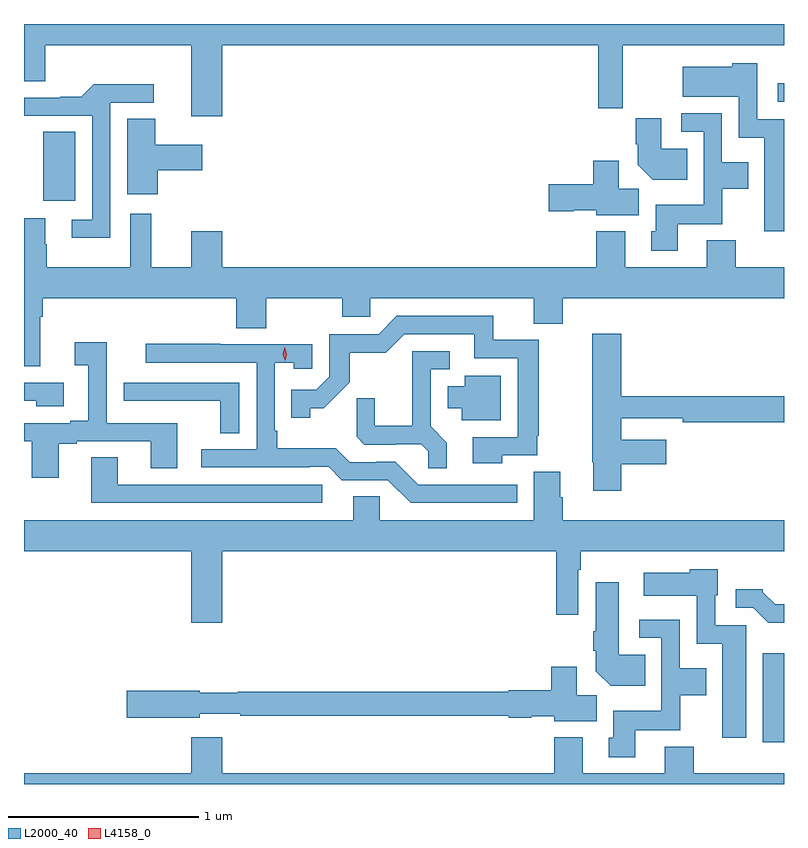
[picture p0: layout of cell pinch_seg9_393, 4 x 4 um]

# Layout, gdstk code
import gdstk
lib = gdstk.Library(unit=1e-6, precision=1e-09)
def R(c, l, rs):  # rectangles x0, y0, x1, y1
    for r in rs: c.add(gdstk.rectangle(r[:2], r[2:], *l))
def P(c, l, *ps):  # polygons
    for p in ps: c.add(gdstk.Polygon(p, *l))
L2000_40 = (2000, 40)
L4158_0 = (4158, 0)

pinch_seg9_393 = lib.new_cell('pinch_seg9_393')
R(pinch_seg9_393, L2000_40, [(371.813,1208.736,371.925,1209.205), (368.027,1211.586,368.194,1211.948), (371.892,1212.108,371.925,1212.205)])
P(pinch_seg9_393, L2000_40, [(368.968,1212.404),(370.948,1212.404),(370.948,1212.072),(371.077,1212.072),(371.077,1212.404),(371.925,1212.404),(371.925,1212.516),(367.925,1212.516),(367.925,1212.214),(368.038,1212.214),(368.038,1212.404),(368.804,1212.404),(368.804,1212.03),(368.968,1212.03)],
  [(371.925,1212.015),(371.784,1212.015),(371.784,1212.31),(371.652,1212.31),(371.652,1212.292),(371.391,1212.292),(371.391,1212.134),(371.688,1212.134),(371.688,1211.918),(371.822,1211.918),(371.822,1211.424),(371.925,1211.424)],
  [(368.379,1212.102),(368.608,1212.102),(368.608,1212.2),(368.291,1212.2),(368.225,1212.134),(368.117,1212.134),(368.117,1212.129),(367.925,1212.129),(367.925,1212.033),(368.283,1212.033),(368.283,1211.487),(368.175,1211.487),(368.175,1211.39),(368.379,1211.39)],
  [(371.365,1211.462),(371.601,1211.462),(371.601,1211.648),(371.737,1211.648),(371.737,1211.788),(371.598,1211.788),(371.598,1212.045),(371.385,1212.045),(371.385,1211.949),(371.502,1211.949),(371.502,1211.566),(371.249,1211.566),(371.249,1211.424),(371.225,1211.424),(371.225,1211.322),(371.365,1211.322)],
  [(371.417,1211.86),(371.278,1211.86),(371.278,1212.019),(371.144,1212.019),(371.144,1211.884),(371.156,1211.884),(371.156,1211.774),(371.234,1211.696),(371.417,1211.696)],
  [(368.63,1211.747),(368.863,1211.747),(368.863,1211.881),(368.617,1211.881),(368.617,1212.017),(368.468,1212.017),(368.468,1211.619),(368.63,1211.619)],
  [(371.161,1211.648),(371.056,1211.648),(371.056,1211.797),(370.922,1211.797),(370.922,1211.672),(370.686,1211.672),(370.686,1211.53),(370.818,1211.53),(370.818,1211.537),(370.938,1211.537),(370.938,1211.51),(371.161,1211.51)],
  [(368.968,1211.425),(368.804,1211.425),(368.804,1211.236),(368.596,1211.236),(368.596,1211.518),(368.483,1211.518),(368.483,1211.236),(368.046,1211.236),(368.046,1211.357),(368.038,1211.357),(368.038,1211.494),(367.925,1211.494),(367.925,1210.716),(368.011,1210.716),(368.011,1210.976),(368.024,1210.976),(368.024,1211.072),(369.041,1211.072),(369.041,1210.915),(369.201,1210.915),(369.201,1211.072),(369.601,1211.072),(369.601,1210.974),(369.747,1210.974),(369.747,1211.072),(370.607,1211.072),(370.607,1210.939),(370.76,1210.939),(370.76,1211.072),(371.925,1211.072),(371.925,1211.236),(371.672,1211.236),(371.672,1211.377),(371.519,1211.377),(371.519,1211.236),(371.089,1211.236),(371.089,1211.425),(370.937,1211.425),(370.937,1211.236),(368.968,1211.236)],
  [(370.443,1210.245),(370.625,1210.245),(370.625,1210.348),(370.633,1210.348),(370.633,1210.854),(370.394,1210.854),(370.394,1210.98),(369.888,1210.98),(369.792,1210.884),(369.531,1210.884),(369.531,1210.659),(369.462,1210.59),(369.331,1210.59),(369.331,1210.443),(369.432,1210.443),(369.432,1210.493),(369.502,1210.493),(369.64,1210.63),(369.64,1210.786),(369.829,1210.786),(369.927,1210.884),(370.295,1210.884),(370.295,1210.758),(370.524,1210.758),(370.524,1210.341),(370.287,1210.341),(370.287,1210.205),(370.443,1210.205)],
  [(371.069,1210.198),(371.305,1210.198),(371.305,1210.327),(371.069,1210.327),(371.069,1210.44),(371.392,1210.44),(371.392,1210.42),(371.925,1210.42),(371.925,1210.556),(371.069,1210.556),(371.069,1210.885),(370.915,1210.885),(370.915,1210.209),(370.922,1210.209),(370.922,1210.059),(371.069,1210.059)],
  [(368.107,1210.308),(368.203,1210.308),(368.203,1210.32),(368.591,1210.32),(368.591,1210.177),(368.731,1210.177),(368.731,1210.416),(368.361,1210.416),(368.361,1210.84),(368.193,1210.84),(368.193,1210.72),(368.264,1210.72),(368.264,1210.429),(368.168,1210.429),(368.168,1210.416),(367.925,1210.416),(367.925,1210.32),(367.967,1210.32),(367.967,1210.128),(368.107,1210.128)],
  [(370.522,1210.092),(369.999,1210.092),(369.879,1210.212),(369.778,1210.212),(369.778,1210.209),(369.639,1210.209),(369.566,1210.282),(369.259,1210.282),(369.259,1210.375),(369.246,1210.375),(369.246,1210.733),(369.345,1210.733),(369.345,1210.701),(369.441,1210.701),(369.441,1210.83),(368.957,1210.83),(368.957,1210.833),(368.565,1210.833),(368.565,1210.734),(369.15,1210.734),(369.15,1210.278),(368.859,1210.278),(368.859,1210.182),(369.428,1210.182),(369.428,1210.185),(369.528,1210.185),(369.597,1210.116),(369.84,1210.116),(369.96,1209.996),(370.522,1209.996)],
  [(370.151,1210.313),(370.065,1210.399),(370.065,1210.698),(370.165,1210.698),(370.165,1210.794),(369.968,1210.794),(369.968,1210.402),(369.77,1210.402),(369.77,1210.545),(369.676,1210.545),(369.676,1210.343),(369.717,1210.302),(369.882,1210.302),(369.882,1210.305),(370.016,1210.305),(370.053,1210.268),(370.053,1210.177),(370.151,1210.177)],
  [(370.435,1210.666),(370.244,1210.666),(370.244,1210.609),(370.154,1210.609),(370.154,1210.493),(370.229,1210.493),(370.229,1210.43),(370.435,1210.43)],
  [(369.057,1210.629),(368.451,1210.629),(368.451,1210.534),(368.563,1210.534),(368.563,1210.533),(368.959,1210.533),(368.959,1210.363),(369.057,1210.363)],
  [(368.134,1210.629),(367.925,1210.629),(367.925,1210.533),(367.989,1210.533),(367.989,1210.505),(368.134,1210.505)],
  [(369.496,1210.092),(368.419,1210.092),(368.419,1210.235),(368.279,1210.235),(368.279,1209.996),(369.496,1209.996)],
  [(370.747,1210.026),(370.747,1210.16),(370.607,1210.16),(370.607,1209.904),(369.798,1209.904),(369.798,1210.031),(369.659,1210.031),(369.659,1209.904),(367.925,1209.904),(367.925,1209.74),(368.804,1209.74),(368.804,1209.366),(368.968,1209.366),(368.968,1209.74),(370.726,1209.74),(370.726,1209.408),(370.842,1209.408),(370.842,1209.644),(370.855,1209.644),(370.855,1209.74),(371.925,1209.74),(371.925,1209.904),(370.76,1209.904),(370.76,1210.026)],
  [(371.725,1209.351),(371.562,1209.351),(371.562,1209.51),(371.575,1209.51),(371.575,1209.646),(371.43,1209.646),(371.43,1209.628),(371.187,1209.628),(371.187,1209.506),(371.466,1209.506),(371.466,1209.254),(371.6,1209.254),(371.6,1208.76),(371.725,1208.76)],
  [(371.195,1209.196),(371.056,1209.196),(371.056,1209.577),(370.934,1209.577),(370.934,1209.32),(370.922,1209.32),(370.922,1209.217),(370.934,1209.217),(370.934,1209.11),(371.012,1209.032),(371.195,1209.032)],
  [(371.925,1209.462),(371.878,1209.462),(371.814,1209.526),(371.814,1209.541),(371.67,1209.541),(371.67,1209.444),(371.763,1209.444),(371.842,1209.366),(371.925,1209.366)],
  [(371.143,1208.798),(371.379,1208.798),(371.379,1208.984),(371.515,1208.984),(371.515,1209.124),(371.376,1209.124),(371.376,1209.381),(371.163,1209.381),(371.163,1209.285),(371.28,1209.285),(371.28,1208.902),(371.027,1208.902),(371.027,1208.76),(371.003,1208.76),(371.003,1208.658),(371.143,1208.658)],
  [(370.939,1208.984),(370.834,1208.984),(370.834,1209.133),(370.7,1209.133),(370.7,1209.01),(370.476,1209.01),(370.476,1209.002),(369.05,1209.002),(369.05,1208.995),(368.85,1208.995),(368.85,1209.008),(368.466,1209.008),(368.466,1208.866),(368.85,1208.866),(368.85,1208.886),(369.064,1208.886),(369.064,1208.874),(370.476,1208.874),(370.476,1208.866),(370.596,1208.866),(370.596,1208.873),(370.716,1208.873),(370.716,1208.846),(370.939,1208.846)],
  [(371.297,1208.713),(371.297,1208.572),(370.867,1208.572),(370.867,1208.761),(370.715,1208.761),(370.715,1208.572),(368.968,1208.572),(368.968,1208.761),(368.804,1208.761),(368.804,1208.572),(367.925,1208.572),(367.925,1208.516),(371.925,1208.516),(371.925,1208.572),(371.45,1208.572),(371.45,1208.713)])
P(pinch_seg9_393, L4158_0, [(369.3,1210.743),(369.3,1210.743),(369.288,1210.778),(369.297,1210.814),(369.297,1210.815),(369.297,1210.814),(369.308,1210.779),(369.3,1210.743)])

lib.write_gds('pinch_seg9_393.gds')
